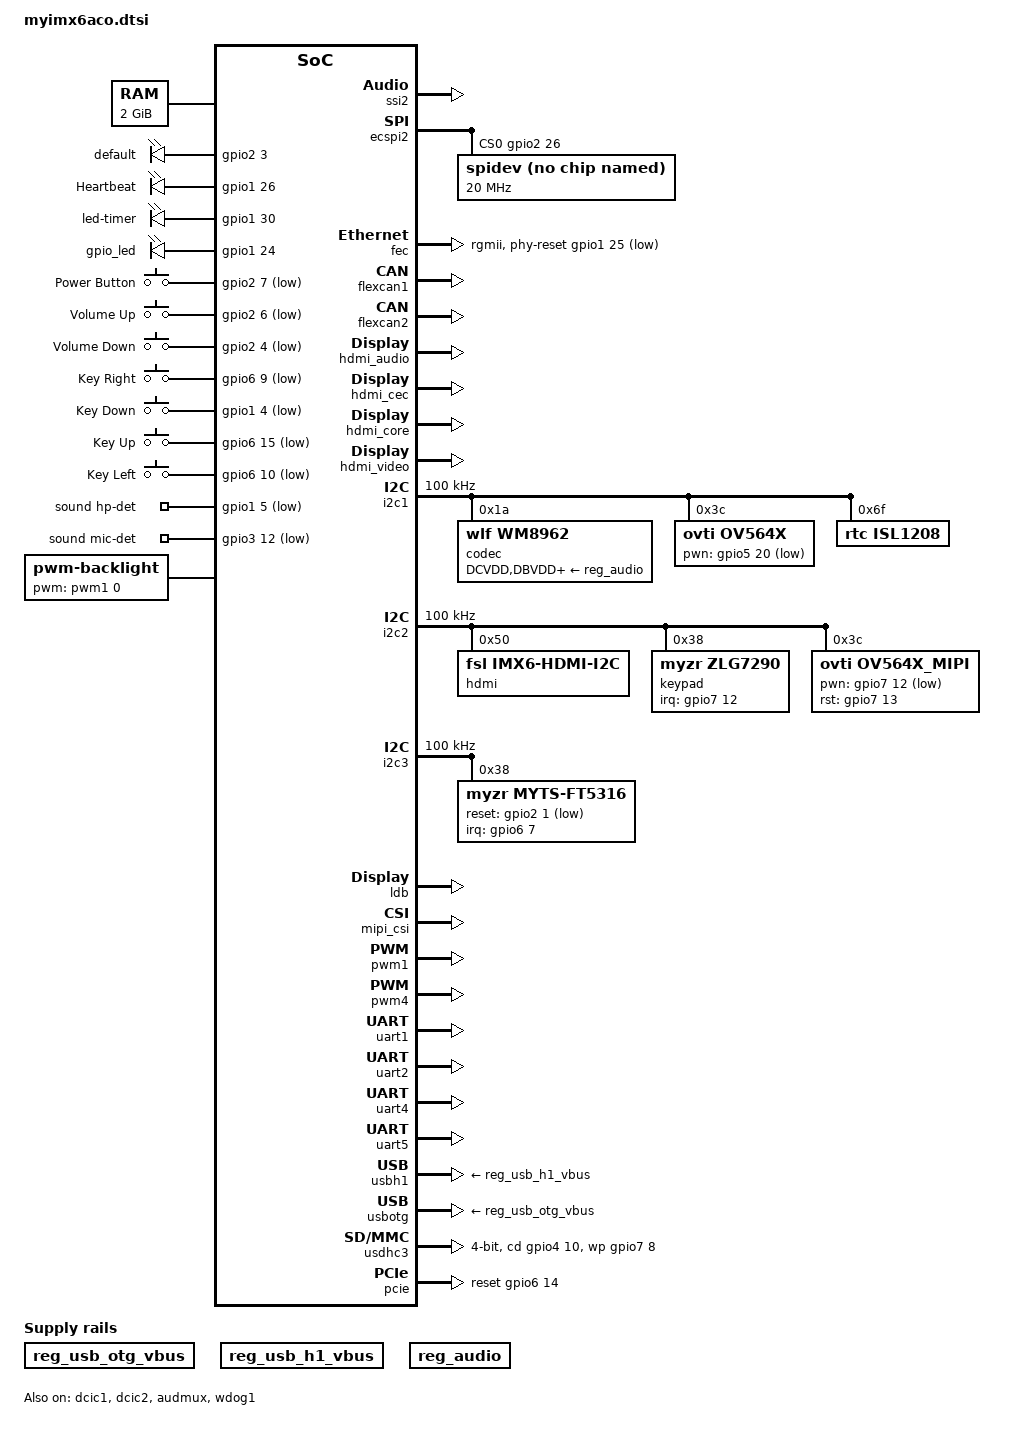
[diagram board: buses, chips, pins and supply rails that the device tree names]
/*
 * MYZR Technology Co.,Ltd
 * http://www.myzr.com.cn
 * Tang Bin <tangb@myzr.com.cn>
 */

#include <dt-bindings/input/input.h>
#include "myimx6cb314.dtsi"
#include "myimx6aco-iomux.dtsi"

/ {
	aliases {
		mxcfb0 = &mxcfb1;
		mxcfb1 = &mxcfb2;
		mxcfb2 = &mxcfb3;
		mxcfb3 = &mxcfb4;
	};

	memory: memory {
		reg = <0x10000000 0x80000000>;
	};
	
	regulators {
		compatible = "simple-bus";
		#address-cells = <1>;
		#size-cells = <0>;

		reg_usb_otg_vbus: regulator@0 {
			compatible = "regulator-fixed";
			reg = <0>;
			regulator-name = "usb_otg_vbus";
			enable-active-high;
		};

		reg_usb_h1_vbus: regulator@1 {
			compatible = "regulator-fixed";
			reg = <1>;
			regulator-name = "usb_h1_vbus";
			enable-active-high;
		};

		reg_audio: regulator@2 {
			compatible = "regulator-fixed";
			reg = <2>;
			regulator-name = "wm8962-supply";
			enable-active-high;
		};
	};

	leds {
		compatible = "gpio-leds";
		pinctrl-names = "default";
		pinctrl-0 = <&pinctrl_gpio_leds>;
		
		led-default {
			label = "default";
			gpios = <&gpio2 3 0>; /* D10 */
			linux,default-trigger = "default-on";
			default-state = "on";
		};
		
		led-heartbeat {
			label = "Heartbeat";
			gpios = <&gpio1 26 0>; /* D11 */
			linux,default-trigger = "heartbeat";
		};
		
		led-timer {
			gpios = <&gpio1 30 0>; /* D12 */
			linux,default-trigger = "timer";
			default-state = "on";
		};
		
		led-gpio {
			label = "gpio_led";
			gpios = <&gpio1 24 0>; /* D13 */
			linux,default-trigger = "gpio";
		};
	};

	gpio-keys {
		compatible = "gpio-keys";
		pinctrl-names = "default";
		pinctrl-0 = <&pinctrl_gpio_keys>;

		power {
			label = "Power Button";
			gpio-key,wakeup;
			gpios = <&gpio2 7 1>; /* SW11 */
			linux,code = <KEY_POWER>;
		};

		volume-up {
			label = "Volume Up";
			gpio-key,wakeup;
			gpios = <&gpio2 6 1>; /* SW13 */
			linux,code = <KEY_VOLUMEUP>;
		};

		volume-down {
			label = "Volume Down";
			gpio-key,wakeup;
			gpios = <&gpio2 4 1>; /* SW20 */
			linux,code = <KEY_VOLUMEDOWN>;
		};

		key-right {
			label = "Key Right";
			gpios = <&gpio6 9 1>; /* SW6 */
			linux,code = <KEY_RIGHT>;
		};

		key-down {
			label = "Key Down";
			gpios = <&gpio1 4 1>; /* SW12 */
			linux,code = <KEY_DOWN>;
		};

		key-up {
			label = "Key Up";
			gpios = <&gpio6 15 1>; /* SW14 */
			linux,code = <KEY_UP>;
		};

		key-left {
			label = "Key Left";
			gpios = <&gpio6 10 1>; /* SW21 */
			linux,code = <KEY_LEFT>;
		};
	};
	
	sound {
		compatible = "myzr,myimx6-wm8962",
			   "fsl,imx-audio-wm8962";
		model = "wm8962-audio";
		cpu-dai = <&ssi2>;
		audio-codec = <&codec>;
		asrc-controller = <&asrc>;
		audio-routing =
			"Headphone Jack", "HPOUTL",
			"Headphone Jack", "HPOUTR",
			"Ext Spk", "SPKOUTL",
			"Ext Spk", "SPKOUTR",
			"MICBIAS", "AMIC",
			"IN3R", "MICBIAS",
			"DMIC", "MICBIAS",
			"DMICDAT", "DMIC",
			"CPU-Playback", "ASRC-Playback",
			"Playback", "CPU-Playback",
			"ASRC-Capture", "CPU-Capture",
			"CPU-Capture", "Capture";
		mux-int-port = <2>;
		mux-ext-port = <3>;
		hp-det-gpios = <&gpio1 5 1>;
		mic-det-gpios = <&gpio3 12 1>;
	};

	sound-hdmi {
		compatible = "fsl,imx6q-audio-hdmi",
			     "fsl,imx-audio-hdmi";
		model = "imx-audio-hdmi";
		hdmi-controller = <&hdmi_audio>;
	};

	mxcfb1: fb@0 {
		compatible = "fsl,mxc_sdc_fb";
		disp_dev = "ldb";
		interface_pix_fmt = "RGB666";
		default_bpp = <16>;
		int_clk = <0>;
		late_init = <0>;
		status = "disabled";
	};

	mxcfb2: fb@1 {
		compatible = "fsl,mxc_sdc_fb";
		disp_dev = "hdmi";
		interface_pix_fmt = "RGB24";
		mode_str ="1920x1080M@60";
		default_bpp = <24>;
		int_clk = <0>;
		late_init = <0>;
		status = "disabled";
	};

	mxcfb3: fb@2 {
		compatible = "fsl,mxc_sdc_fb";
		disp_dev = "lcd";
		interface_pix_fmt = "RGB565";
		mode_str ="CLAA-WVGA";
		default_bpp = <16>;
		int_clk = <0>;
		late_init = <0>;
		status = "disabled";
	};

	mxcfb4: fb@3 {
		compatible = "fsl,mxc_sdc_fb";
		disp_dev = "ldb";
		interface_pix_fmt = "RGB666";
		default_bpp = <16>;
		int_clk = <0>;
		late_init = <0>;
		status = "disabled";
	};

	lcd@0 {
		compatible = "fsl,lcd";
		ipu_id = <0>;
		disp_id = <0>;
		default_ifmt = "RGB24";
		pinctrl-names = "default";
		pinctrl-0 = <&pinctrl_ipu1_disp0>;
		status = "okay";
	};

	backlight {
		compatible = "pwm-backlight";
		pwms = <&pwm1 0 5000000>;
		brightness-levels = <0 36 72 108 144 180 216 255>;
		default-brightness-level = <7>;
		status = "okay";
	};

	v4l2_cap_0 {
		compatible = "fsl,imx6q-v4l2-capture";
		ipu_id = <0>;
		csi_id = <0>;
		mclk_source = <0>;
		status = "okay";
	};

	v4l2_cap_1 {
		compatible = "fsl,imx6q-v4l2-capture";
		ipu_id = <0>;
		csi_id = <1>;
		mclk_source = <0>;
		status = "okay";
	};

	v4l2_out {
		compatible = "fsl,mxc_v4l2_output";
		status = "okay";
	};
};

&clks {
	fsl,ldb-di0-parent = <&clks IMX6QDL_CLK_PLL2_PFD0_352M>;
	fsl,ldb-di1-parent = <&clks IMX6QDL_CLK_PLL2_PFD0_352M>;
};

&iomuxc {
	pinctrl-names = "default";
	pinctrl-0 = <&pinctrl_hog &pinctrl_zlg7290_io>;
};

&dcic1 {
	dcic_id = <0>;
	dcic_mux = "dcic-hdmi";
	status = "okay";
};

&dcic2 {
	dcic_id = <1>;
	dcic_mux = "dcic-lvds1";
	status = "okay";
};

&gpc {
	fsl,ldo-bypass = <1>;
	fsl,wdog-reset = <1>;
};

&audmux {
	pinctrl-names = "default";
	pinctrl-0 = <&pinctrl_audmux &pinctrl_audmux_det>;
	status = "okay";
};

&ssi2 {
	fsl,mode = "i2s-slave";
	status = "okay";
};

&ecspi2 {
	fsl,spi-num-chipselects = <1>;
	cs-gpios = <&gpio2 26 0>;
	pinctrl-names = "default";
	pinctrl-0 = <&pinctrl_ecspi2 &pinctrl_ecspi2_cs0 &pinctrl_ecspi2_io>;
	status = "okay";

	spidev@0 {
		compatible = "spidev";
		spi-max-frequency = <20000000>;
		reg = <0>;
	};
};

&fec {
	pinctrl-names = "default";
	pinctrl-0 = <&pinctrl_enet &pinctrl_enet_irq &pinctrl_enet_rst &pinctrl_smi>;
	phy-mode = "rgmii";
	phy-reset-gpios = <&gpio1 25 0>;
	fsl,magic-packet;
	status = "okay";
};

&flexcan1 {
	pinctrl-names = "default";
	pinctrl-0 = <&pinctrl_flexcan1>;
	status = "okay"; 
};

&flexcan2 {
	pinctrl-names = "default";
	pinctrl-0 = <&pinctrl_flexcan2>;
	status = "okay";
};

&hdmi_audio {
	status = "okay";
};

&hdmi_cec {
	pinctrl-names = "default";
	pinctrl-0 = <&pinctrl_hdmi_cec>;
	status = "okay";
};

&hdmi_core {
	ipu_id = <0>;
	disp_id = <0>;
	status = "okay";
};

&hdmi_video {
	fsl,phy_reg_vlev = <0x0294>;
	fsl,phy_reg_cksymtx = <0x800d>;
	status = "okay";
};

&i2c1 {
	clock-frequency = <100000>;
	pinctrl-names = "default";
	pinctrl-0 = <&pinctrl_i2c1>;
	status = "okay";

	codec: wm8962@1a {
		compatible = "wlf,wm8962";
		reg = <0x1a>;
		clocks = <&clks 201>;
		DCVDD-supply = <&reg_audio>;
		DBVDD-supply = <&reg_audio>;
		AVDD-supply = <&reg_audio>;
		CPVDD-supply = <&reg_audio>;
		MICVDD-supply = <&reg_audio>;
		PLLVDD-supply = <&reg_audio>;
		SPKVDD1-supply = <&reg_audio>;
		SPKVDD2-supply = <&reg_audio>;
		amic-mono;
		gpio-cfg = <
			0x0000 /* 0:Default */
			0x0000 /* 1:Default */
			0x0013 /* 2:FN_DMICCLK */
			0x0000 /* 3:Default */
			0x8014 /* 4:FN_DMICCDAT */
			0x0000 /* 5:Default */
		>;
       };

	ov564x: ov564x@3c {
		compatible = "ovti,ov564x";
		reg = <0x3c>;
		pinctrl-names = "default";
		pinctrl-0 = <&pinctrl_ipu1_csi0 &pinctrl_csi0_io>;
		clocks = <&clks IMX6QDL_CLK_CKO>;
		clock-names = "csi_mclk";
		pwn-gpios = <&gpio5 20 1>;
		csi_id = <0>;
		mclk = <24000000>;
		mclk_source = <0>;
	};

	isl1208@6f {
		compatible = "rtc,isl1208";
		reg = <0x6f>;
	};
};

&i2c2 {
	clock-frequency = <100000>;
	pinctrl-names = "default";
	pinctrl-0 = <&pinctrl_i2c2>;
	status = "okay";

	hdmi: edid@50 {
		compatible = "fsl,imx6-hdmi-i2c";
		reg = <0x50>;
	};
	
	keypad: zlg7290@38 {
		compatible = "myzr,zlg7290";
		reg = <0x38>;
		interrupt-parent = <&gpio7>;
		interrupts = <12 0>;
	};

	ov564x_mipi: ov564x_mipi@3c {
		compatible = "ovti,ov564x_mipi", "myzr,my-ov564x";
		reg = <0x3c>;
		clocks = <&clks 201>;
		clock-names = "csi_mclk";
		pwn-gpios = <&gpio7 12 1>;
		rst-gpios = <&gpio7 13 0>;
		csi_id = <1>;
		mclk = <24000000>;
		mclk_source = <0>;
	};
};

&i2c3 {
	clock-frequency = <100000>;
	pinctrl-names = "default";
	pinctrl-0 = <&pinctrl_i2c3>;
	status = "okay";

	myzr: myts_ft5x0x@38 {
		compatible = "myzr,myts-ft5316";
		reg = <0x38>;
		pinctrl-names = "default";
		pinctrl-0 = <&pinctrl_myts>;
		interrupt-parent = <&gpio6>;
		interrupts = <7 0>;
		reset-gpios = <&gpio2 1 GPIO_ACTIVE_LOW>;
		linux,wakeup;
	};
};

&ldb {
	status = "okay";

	lvds-channel@0 {
		fsl,data-mapping = "spwg";
		fsl,data-width = <18>;
		status = "okay";

		display-timings {
			native-mode = <&timing0>;
			timing0: hsd100pxn1 {
				clock-frequency = <65000000>;
				hactive = <1024>;
				vactive = <600>;
				hback-porch = <220>;
				hfront-porch = <40>;
				vback-porch = <21>;
				vfront-porch = <7>;
				hsync-len = <60>;
				vsync-len = <10>;
			};
		};
	};

	lvds-channel@1 {
		fsl,data-mapping = "spwg";
		fsl,data-width = <18>;
		primary;
		status = "okay";

		display-timings {
			native-mode = <&timing1>;
			timing1: hsd100pxn1 {
				clock-frequency = <65000000>;
				hactive = <1024>;
				vactive = <600>;
				hback-porch = <220>;
				hfront-porch = <40>;
				vback-porch = <21>;
				vfront-porch = <7>;
				hsync-len = <60>;
				vsync-len = <10>;
			};
		};
	};
};

&mipi_csi {
	status = "okay";
	ipu_id = <0>;
	csi_id = <1>;
	v_channel = <0>;
	lanes = <2>;
};

&pwm1 {
	pinctrl-names = "default";
	pinctrl-0 = <&pinctrl_pwm1>;
	status = "okay";
};

&pwm4 {
	pinctrl-names = "default";
	pinctrl-0 = <&pinctrl_pwm4>;
	status = "okay";
};

&uart1 {
	pinctrl-names = "default";
	pinctrl-0 = <&pinctrl_uart1>;
	status = "okay";
};

&uart2 {
	pinctrl-names = "default";
	pinctrl-0 = <&pinctrl_uart2>;
	status = "okay";
};

&uart4 {
	pinctrl-names = "default";
	pinctrl-0 = <&pinctrl_uart4>;
	status = "okay";
};

&uart5 {
	pinctrl-names = "default";
	pinctrl-0 = <&pinctrl_uart5>;
	status = "okay";
};

&usbh1 {
	vbus-supply = <&reg_usb_h1_vbus>;
	status = "okay";
};

&usbotg {
	vbus-supply = <&reg_usb_otg_vbus>;
	pinctrl-names = "default";
	pinctrl-0 = <&pinctrl_usb_otg_id>;
	disable-over-current;
	srp-disable;
	hnp-disable;
	adp-disable;
	status = "okay";
};

&usdhc3 {
	pinctrl-names = "default";
	pinctrl-0 = <&pinctrl_usdhc3 &pinctrl_usdhc3_rst &pinctrl_usdhc3_cd>;
	bus-width = <4>;
	cd-gpios = <&gpio4 10 0>;
	wp-gpios = <&gpio7 8 0>;
	no-1-8-v;
	keep-power-in-suspend;
	enable-sdio-wakeup;
	status = "okay";
};

&pcie {
	power-on-gpio = <&gpio6 8 0>;
	reset-gpio = <&gpio6 14 0>;
	status = "okay";
};

&wdog1 {
	status = "okay";
};

&wdog2 {
	status = "disabled";
};

&caam_snvs {
	status = "disabled";
};
